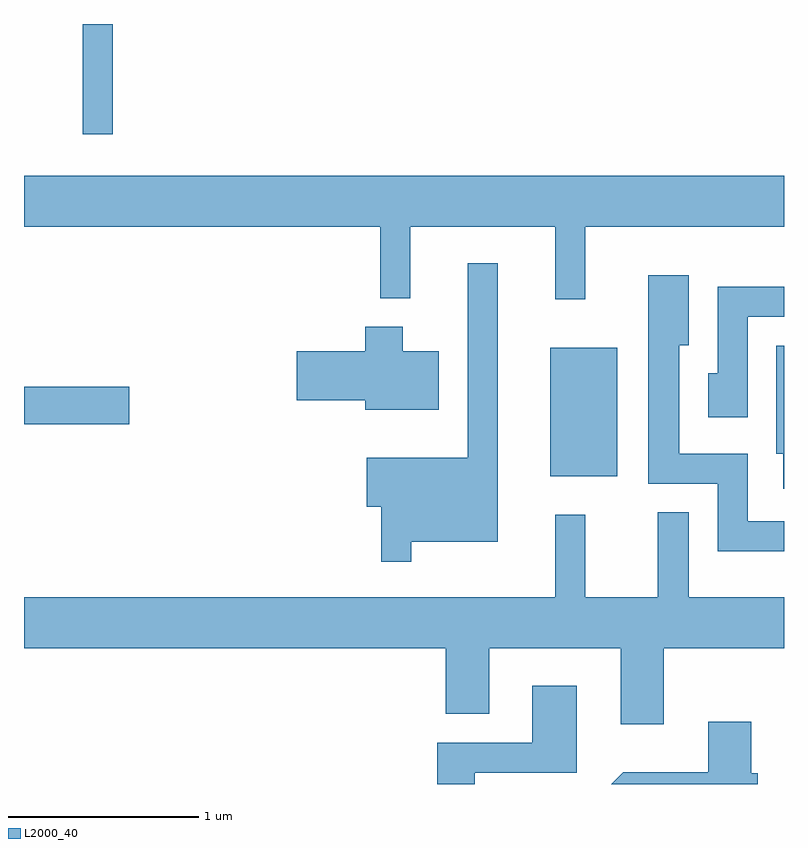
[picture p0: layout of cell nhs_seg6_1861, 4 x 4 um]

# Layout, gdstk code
import gdstk
lib = gdstk.Library(unit=1e-6, precision=1e-09)
def R(c, l, rs):  # rectangles x0, y0, x1, y1
    for r in rs: c.add(gdstk.rectangle(r[:2], r[2:], *l))
def P(c, l, *ps):  # polygons
    for p in ps: c.add(gdstk.Polygon(p, *l))
L2000_40 = (2000, 40)

nhs_seg6_1861 = lib.new_cell('nhs_seg6_1861')
R(nhs_seg6_1861, L2000_40, [(244.381,1599.781,244.734,1600.459), (241.611,1600.056,242.164,1600.254), (241.921,1601.583,242.079,1602.162)])
P(nhs_seg6_1861, L2000_40, [(244.564,1601.096),(245.611,1601.096),(245.611,1601.364),(241.611,1601.364),(241.611,1601.096),(243.486,1601.096),(243.486,1600.718),(243.644,1600.718),(243.644,1601.096),(244.406,1601.096),(244.406,1600.713),(244.564,1600.713)],
  [(243.649,1599.436),(244.104,1599.436),(244.104,1600.903),(243.946,1600.903),(243.946,1599.879),(243.416,1599.879),(243.416,1599.621),(243.491,1599.621),(243.491,1599.333),(243.649,1599.333)],
  [(245.611,1599.544),(245.419,1599.544),(245.419,1599.899),(245.059,1599.899),(245.059,1600.471),(245.109,1600.471),(245.109,1600.839),(244.896,1600.839),(244.896,1599.741),(245.261,1599.741),(245.261,1599.386),(245.611,1599.386)],
  [(245.419,1600.621),(245.611,1600.621),(245.611,1600.779),(245.261,1600.779),(245.261,1600.324),(245.211,1600.324),(245.211,1600.091),(245.419,1600.091)],
  [(243.794,1600.439),(243.604,1600.439),(243.604,1600.569),(243.406,1600.569),(243.406,1600.439),(243.046,1600.439),(243.046,1600.181),(243.406,1600.181),(243.406,1600.131),(243.794,1600.131)],
  [(245.611,1600.469),(245.571,1600.469),(245.571,1599.901),(245.606,1599.901),(245.606,1599.716),(245.611,1599.716)],
  [(244.979,1598.876),(245.611,1598.876),(245.611,1599.144),(245.109,1599.144),(245.109,1599.593),(244.946,1599.593),(244.946,1599.144),(244.564,1599.144),(244.564,1599.578),(244.406,1599.578),(244.406,1599.144),(241.611,1599.144),(241.611,1598.876),(243.831,1598.876),(243.831,1598.531),(244.059,1598.531),(244.059,1598.876),(244.751,1598.876),(244.751,1598.476),(244.979,1598.476)],
  [(243.984,1598.221),(244.519,1598.221),(244.519,1598.679),(244.286,1598.679),(244.286,1598.379),(243.786,1598.379),(243.786,1598.162),(243.984,1598.162)],
  [(245.474,1598.219),(245.439,1598.219),(245.439,1598.489),(245.211,1598.489),(245.211,1598.224),(244.764,1598.224),(244.702,1598.162),(245.474,1598.162)])

lib.write_gds('nhs_seg6_1861.gds')
